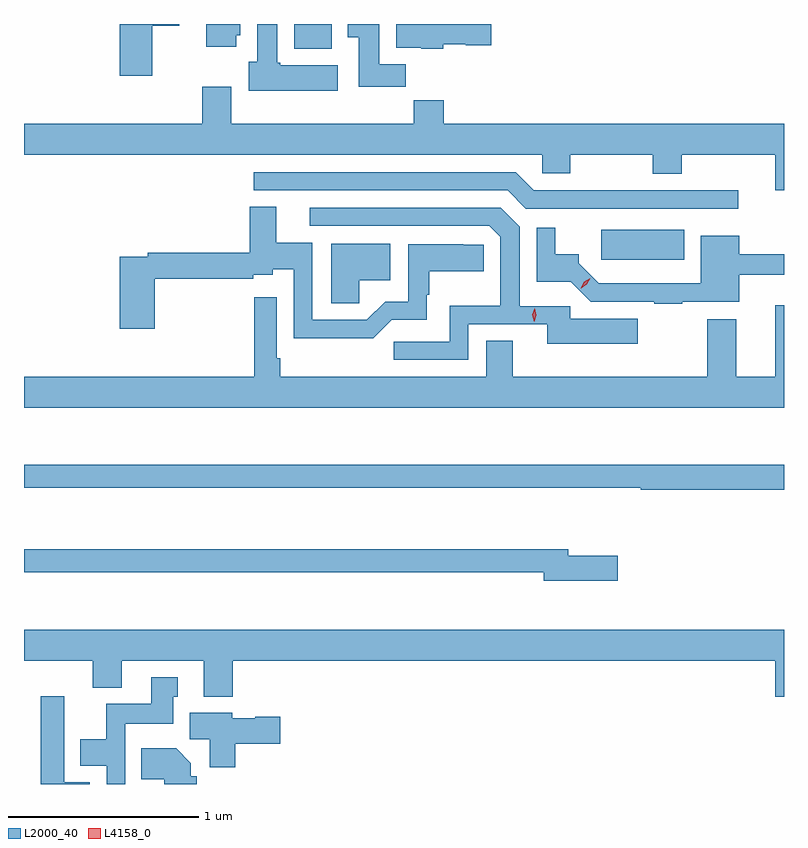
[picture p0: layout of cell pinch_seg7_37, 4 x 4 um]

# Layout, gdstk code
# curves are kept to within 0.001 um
import gdstk
lib = gdstk.Library(unit=1e-6, precision=1e-09)
def R(c, l, rs):  # rectangles x0, y0, x1, y1
    for r in rs: c.add(gdstk.rectangle(r[:2], r[2:], *l))
def P(c, l, *ps):  # polygons
    for p in ps: c.add(gdstk.Polygon(p, *l))
L2000_40 = (2000, 40)
L4158_0 = (4158, 0)

pinch_seg7_37 = lib.new_cell('pinch_seg7_37')
R(pinch_seg7_37, L2000_40, [(1051.203,1069.328,1051.642,1069.486), (1049.588,1070.438,1049.785,1070.568)])
P(pinch_seg7_37, L2000_40, [(1050.176,1070.356),(1050.037,1070.356),(1050.037,1070.568),(1049.87,1070.568),(1049.87,1070.497),(1049.927,1070.497),(1049.927,1070.238),(1050.176,1070.238)],
  [(1050.372,1070.462),(1050.492,1070.462),(1050.492,1070.455),(1050.625,1070.455),(1050.625,1070.568),(1050.125,1070.568),(1050.125,1070.444),(1050.258,1070.444),(1050.258,1070.438),(1050.372,1070.438)],
  [(1049.284,1070.508),(1049.305,1070.508),(1049.305,1070.568),(1049.126,1070.568),(1049.126,1070.448),(1049.284,1070.448)],
  [(1048.84,1070.56),(1048.983,1070.56),(1048.983,1070.568),(1048.67,1070.568),(1048.67,1070.295),(1048.84,1070.295)],
  [(1049.818,1070.35),(1049.514,1070.35),(1049.514,1070.364),(1049.5,1070.364),(1049.5,1070.568),(1049.393,1070.568),(1049.393,1070.37),(1049.348,1070.37),(1049.348,1070.216),(1049.818,1070.216)],
  [(1052.166,1070.044),(1050.374,1070.044),(1050.374,1070.168),(1050.217,1070.168),(1050.217,1070.044),(1049.257,1070.044),(1049.257,1070.239),(1049.105,1070.239),(1049.105,1070.044),(1048.166,1070.044),(1048.166,1069.88),(1050.894,1069.88),(1050.894,1069.782),(1051.041,1069.782),(1051.041,1069.88),(1051.474,1069.88),(1051.474,1069.781),(1051.629,1069.781),(1051.629,1069.88),(1052.12,1069.88),(1052.12,1069.692),(1052.166,1069.692)],
  [(1051.924,1069.692),(1051.385,1069.692),(1051.385,1069.694),(1051.129,1069.694),(1051.129,1069.692),(1050.849,1069.692),(1050.753,1069.788),(1049.376,1069.788),(1049.376,1069.692),(1050.711,1069.692),(1050.807,1069.596),(1051.924,1069.596)],
  [(1050.102,1069.011),(1050.285,1069.011),(1050.285,1069.143),(1050.298,1069.143),(1050.298,1069.268),(1050.586,1069.268),(1050.586,1069.407),(1050.189,1069.408),(1050.189,1069.107),(1050.066,1069.107),(1049.97,1069.011),(1049.682,1069.011),(1049.682,1069.417),(1049.494,1069.417),(1049.494,1069.606),(1049.354,1069.606),(1049.354,1069.364),(1048.816,1069.364),(1048.816,1069.344),(1048.67,1069.344),(1048.67,1068.963),(1048.853,1068.963),(1048.853,1069.228),(1049.372,1069.228),(1049.372,1069.248),(1049.476,1069.248),(1049.476,1069.277),(1049.586,1069.277),(1049.586,1068.914),(1050.005,1068.914)],
  [(1050.504,1068.987),(1050.92,1068.987),(1050.92,1068.884),(1051.396,1068.884),(1051.396,1069.018),(1051.041,1069.018),(1051.041,1069.083),(1050.775,1069.083),(1050.775,1069.502),(1050.675,1069.602),(1049.67,1069.602),(1049.67,1069.506),(1050.615,1069.506),(1050.672,1069.449),(1050.672,1069.085),(1050.408,1069.085),(1050.408,1068.896),(1050.111,1068.896),(1050.111,1068.801),(1050.504,1068.801)],
  [(1051.631,1069.107),(1051.93,1069.107),(1051.93,1069.247),(1052.166,1069.247),(1052.166,1069.357),(1051.93,1069.357),(1051.93,1069.453),(1051.727,1069.453),(1051.727,1069.203),(1051.191,1069.203),(1051.086,1069.308),(1051.086,1069.357),(1050.963,1069.357),(1050.963,1069.495),(1050.864,1069.495),(1050.864,1069.212),(1051.044,1069.212),(1051.149,1069.107),(1051.483,1069.107),(1051.483,1069.095),(1051.631,1069.095)],
  [(1049.93,1069.22),(1050.094,1069.22),(1050.094,1069.411),(1049.783,1069.411),(1049.783,1069.098),(1049.93,1069.098)],
  [(1052.166,1069.087),(1052.12,1069.087),(1052.12,1068.712),(1051.915,1068.712),(1051.915,1069.015),(1051.763,1069.015),(1051.763,1068.712),(1050.739,1068.712),(1050.739,1068.902),(1050.599,1068.902),(1050.599,1068.712),(1049.515,1068.712),(1049.515,1068.808),(1049.497,1068.808),(1049.497,1069.129),(1049.379,1069.129),(1049.379,1068.712),(1048.166,1068.712),(1048.166,1068.548),(1052.166,1068.548)],
  [(1052.166,1068.247),(1048.166,1068.247),(1048.166,1068.126),(1051.411,1068.126),(1051.411,1068.118),(1052.166,1068.118)],
  [(1051.291,1067.769),(1051.03,1067.769),(1051.03,1067.803),(1048.166,1067.803),(1048.166,1067.682),(1050.902,1067.682),(1050.902,1067.639),(1051.291,1067.639)],
  [(1049.264,1067.216),(1052.12,1067.216),(1052.12,1067.028),(1052.166,1067.028),(1052.166,1067.38),(1048.166,1067.38),(1048.166,1067.216),(1048.529,1067.216),(1048.529,1067.075),(1048.681,1067.075),(1048.681,1067.216),(1049.111,1067.216),(1049.111,1067.027),(1049.264,1067.027)],
  [(1048.698,1066.886),(1048.951,1066.886),(1048.951,1067.028),(1048.975,1067.028),(1048.975,1067.131),(1048.835,1067.131),(1048.835,1066.99),(1048.6,1066.99),(1048.6,1066.804),(1048.463,1066.804),(1048.463,1066.664),(1048.602,1066.664),(1048.602,1066.568),(1048.698,1066.568)],
  [(1048.513,1066.576),(1048.378,1066.576),(1048.378,1067.029),(1048.253,1067.029),(1048.253,1066.568),(1048.513,1066.568)],
  [(1049.279,1066.781),(1049.515,1066.781),(1049.515,1066.923),(1049.382,1066.923),(1049.382,1066.915),(1049.262,1066.915),(1049.262,1066.942),(1049.039,1066.942),(1049.039,1066.804),(1049.144,1066.804),(1049.144,1066.656),(1049.279,1066.656)],
  [(1049.075,1066.608),(1049.044,1066.608),(1049.044,1066.678),(1048.966,1066.756),(1048.783,1066.756),(1048.783,1066.592),(1048.904,1066.592),(1048.904,1066.568),(1049.075,1066.568)])
P(pinch_seg7_37, L4158_0, [(1051.097,1069.177),(1051.097,1069.178),(1051.114,1069.211),(1051.146,1069.23),(1051.146,1069.23),(1051.146,1069.23),(1051.129,1069.197),(1051.098,1069.177)],
  [(1050.851,1069),(1050.851,1069.001),(1050.842,1069.037),(1050.853,1069.072),(1050.853,1069.072),(1050.854,1069.072),(1050.862,1069.036),(1050.851,1069.001)])

lib.write_gds('pinch_seg7_37.gds')
